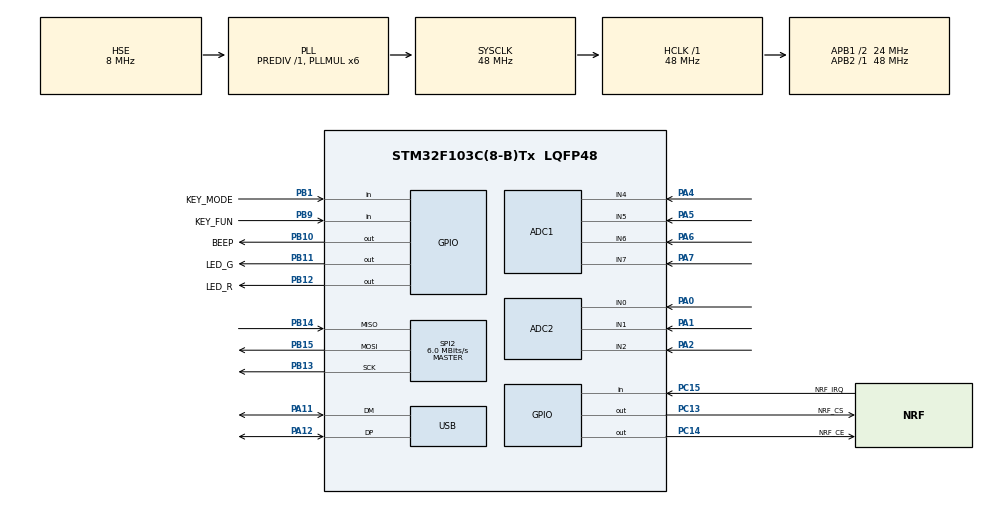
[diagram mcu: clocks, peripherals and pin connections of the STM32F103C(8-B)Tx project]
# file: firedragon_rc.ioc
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ADC1.Channel-0\#ChannelRegularConversion=ADC_CHANNEL_4
ADC1.Channel-1\#ChannelRegularConversion=ADC_CHANNEL_5
ADC1.Channel-2\#ChannelRegularConversion=ADC_CHANNEL_6
ADC1.Channel-3\#ChannelRegularConversion=ADC_CHANNEL_7
ADC1.ContinuousConvMode=ENABLE
ADC1.NbrOfConversion=4
ADC1.NbrOfConversionFlag=1
ADC1.Rank-0\#ChannelRegularConversion=1
ADC1.Rank-1\#ChannelRegularConversion=2
ADC1.Rank-2\#ChannelRegularConversion=3
ADC1.Rank-3\#ChannelRegularConversion=4
ADC1.SamplingTime-0\#ChannelRegularConversion=ADC_SAMPLETIME_1CYCLE_5
ADC1.SamplingTime-1\#ChannelRegularConversion=ADC_SAMPLETIME_1CYCLE_5
ADC1.SamplingTime-2\#ChannelRegularConversion=ADC_SAMPLETIME_1CYCLE_5
ADC1.SamplingTime-3\#ChannelRegularConversion=ADC_SAMPLETIME_1CYCLE_5
ADC1.master=1
ADC2.Channel-0\#ChannelRegularConversion=ADC_CHANNEL_0
ADC2.NbrOfConversionFlag=1
ADC2.Rank-0\#ChannelRegularConversion=1
ADC2.SamplingTime-0\#ChannelRegularConversion=ADC_SAMPLETIME_1CYCLE_5
Dma.ADC1.0.Direction=DMA_PERIPH_TO_MEMORY
Dma.ADC1.0.Instance=DMA1_Channel1
Dma.ADC1.0.MemDataAlignment=DMA_MDATAALIGN_WORD
Dma.ADC1.0.MemInc=DMA_MINC_ENABLE
Dma.ADC1.0.Mode=DMA_CIRCULAR
Dma.ADC1.0.PeriphDataAlignment=DMA_PDATAALIGN_WORD
Dma.ADC1.0.PeriphInc=DMA_PINC_DISABLE
Dma.ADC1.0.Priority=DMA_PRIORITY_HIGH
Dma.Request0=ADC1
Mcu.Family=STM32F1
Mcu.Name=STM32F103C(8-B)Tx
Mcu.Package=LQFP48
NVIC.ADC1_2_IRQn=true\:0\:0\:false\:false\:true\:true\:true
NVIC.DMA1_Channel1_IRQn=true\:0\:0\:false\:false\:true\:false\:true
NVIC.PriorityGroup=NVIC_PRIORITYGROUP_4
NVIC.USB_LP_CAN1_RX0_IRQn=true\:0\:0\:false\:false\:true\:false\:true
PA0-WKUP.Signal=ADCx_IN0
PA1.Signal=ADCx_IN1
PA11.Mode=Device
PA11.Signal=USB_DM
PA12.Mode=Device
PA12.Signal=USB_DP
PA13.Mode=Serial_Wire
PA13.Signal=SYS_JTMS-SWDIO
PA14.Mode=Serial_Wire
PA14.Signal=SYS_JTCK-SWCLK
PA2.Signal=ADCx_IN2
PA4.Signal=ADCx_IN4
PA5.Signal=ADCx_IN5
PA6.Signal=ADCx_IN6
PA7.Signal=ADCx_IN7
PB1.GPIO_Label=KEY_MODE
PB1.Signal=GPIO_Input
PB10.GPIO_Label=BEEP
PB10.Signal=GPIO_Output
PB11.GPIO_Label=LED_G
PB11.Signal=GPIO_Output
PB12.GPIO_Label=LED_R
PB12.Signal=GPIO_Output
PB13.Mode=Full_Duplex_Master
PB13.Signal=SPI2_SCK
PB14.Mode=Full_Duplex_Master
PB14.Signal=SPI2_MISO
PB15.Mode=Full_Duplex_Master
PB15.Signal=SPI2_MOSI
PB9.GPIO_Label=KEY_FUN
PB9.Signal=GPIO_Input
PC13-TAMPER-RTC.GPIO_Label=NRF_CS
PC13-TAMPER-RTC.Signal=GPIO_Output
PC14-OSC32_IN.GPIO_Label=NRF_CE
PC14-OSC32_IN.Signal=GPIO_Output
PC15-OSC32_OUT.GPIO_Label=NRF_IRQ
PC15-OSC32_OUT.Signal=GPIO_Input
PD0-OSC_IN.Mode=HSE-External-Oscillator
PD0-OSC_IN.Signal=RCC_OSC_IN
PD1-OSC_OUT.Mode=HSE-External-Oscillator
PD1-OSC_OUT.Signal=RCC_OSC_OUT
ProjectManager.HeapSize=0x200
ProjectManager.StackSize=0x400
ProjectManager.TargetToolchain=EWARM V8
RCC.ADCPresc=RCC_ADCPCLK2_DIV4
RCC.AHBFreq_Value=48000000
RCC.APB1CLKDivider=RCC_HCLK_DIV2
RCC.APB1Freq_Value=24000000
RCC.APB1TimFreq_Value=48000000
RCC.APB2Freq_Value=48000000
RCC.APB2TimFreq_Value=48000000
RCC.HCLKFreq_Value=48000000
RCC.PLLMUL=RCC_PLL_MUL6
RCC.SYSCLKFreq_VALUE=48000000
RCC.SYSCLKSource=RCC_SYSCLKSOURCE_PLLCLK
RCC.USBFreq_Value=48000000
SH.ADCx_IN0.0=ADC2_IN0,IN0
SH.ADCx_IN1.0=ADC2_IN1,IN1
SH.ADCx_IN2.0=ADC2_IN2,IN2
SH.ADCx_IN4.0=ADC1_IN4,IN4
SH.ADCx_IN5.0=ADC1_IN5,IN5
SH.ADCx_IN6.0=ADC1_IN6,IN6
SH.ADCx_IN7.0=ADC1_IN7,IN7
SPI2.BaudRatePrescaler=SPI_BAUDRATEPRESCALER_4
SPI2.CalculateBaudRate=6.0 MBits/s
SPI2.Direction=SPI_DIRECTION_2LINES
SPI2.Mode=SPI_MODE_MASTER
SPI2.VirtualType=VM_MASTER
USB_DEVICE.CLASS_NAME_FS=CDC
USB_DEVICE.VirtualMode=Cdc
USB_DEVICE.VirtualModeFS=Cdc_FS
VP_USB_DEVICE_VS_USB_DEVICE_CDC_FS.Mode=CDC_FS
board=custom

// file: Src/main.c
/* USER CODE BEGIN Header */
/**
  ******************************************************************************
  * @file           : main.c
  * @brief          : Main program body
  ******************************************************************************
  * @attention
  *
  * <h2><center>&copy; Copyright (c) 2019 STMicroelectronics.
  * All rights reserved.</center></h2>
  *
  * This software component is licensed by ST under Ultimate Liberty license
  * SLA0044, the "License"; You may not use this file except in compliance with
  * the License. You may obtain a copy of the License at:
  *                             www.st.com/SLA0044
  *
  ******************************************************************************
  */
/* USER CODE END Header */

#include "main.h"
#include "usb_device.h"

/* USER CODE BEGIN Includes */
#include "MY_NRF24.h"
#include "nrf_mavlink.h"
/* USER CODE END Includes */

ADC_HandleTypeDef hadc1;
ADC_HandleTypeDef hadc2;
DMA_HandleTypeDef hdma_adc1;

SPI_HandleTypeDef hspi2;

void SystemClock_Config(void);
static void MX_GPIO_Init(void);
static void MX_DMA_Init(void);
static void MX_ADC1_Init(void);
static void MX_ADC2_Init(void);
static void MX_SPI2_Init(void);
/* USER CODE BEGIN PFP */
void setup(void);
void loop(void);
/* USER CODE END PFP */

/* USER CODE BEGIN 0 */
uint64_t RxpipeAddrs = 0x11223344AA;
/* USER CODE END 0 */

int main(void)
{

  /* MCU Configuration--------------------------------------------------------*/

  /* Reset of all peripherals, Initializes the Flash interface and the Systick. */
  HAL_Init();

  /* Configure the system clock */
  SystemClock_Config();

  /* Initialize all configured peripherals */
  MX_GPIO_Init();
  MX_DMA_Init();
  MX_ADC1_Init();
  MX_ADC2_Init();
  MX_SPI2_Init();
  MX_USB_DEVICE_Init();
  /* USER CODE BEGIN 2 */
  NRF24_begin(NRF_CE_GPIO_Port, NRF_CS_Pin, NRF_CE_Pin, hspi2);
  printRadioSettings();

  NRF24_setAutoAck(true);
  NRF24_setChannel(52);
  NRF24_setPayloadSize(32);
  NRF24_openReadingPipe(1, RxpipeAddrs);

  NRF24_enableDynamicPayloads();
  NRF24_enableAckPayload();

  NRF24_startListening();

  setup();
  /* USER CODE END 2 */

  /* Infinite loop */
  /* USER CODE BEGIN WHILE */
  while (1)
  {
    update_mavlink();
    loop();
    /* USER CODE END WHILE */

  }
}

void SystemClock_Config(void)
{
  RCC_OscInitTypeDef RCC_OscInitStruct = {0};
  RCC_ClkInitTypeDef RCC_ClkInitStruct = {0};
  RCC_PeriphCLKInitTypeDef PeriphClkInit = {0};

  /** Initializes the CPU, AHB and APB busses clocks
  */
  RCC_OscInitStruct.OscillatorType = RCC_OSCILLATORTYPE_HSE;
  RCC_OscInitStruct.HSEState = RCC_HSE_ON;
  RCC_OscInitStruct.HSEPredivValue = RCC_HSE_PREDIV_DIV1;
  RCC_OscInitStruct.HSIState = RCC_HSI_ON;
  RCC_OscInitStruct.PLL.PLLState = RCC_PLL_ON;
  RCC_OscInitStruct.PLL.PLLSource = RCC_PLLSOURCE_HSE;
  RCC_OscInitStruct.PLL.PLLMUL = RCC_PLL_MUL6;
  if (HAL_RCC_OscConfig(&RCC_OscInitStruct) != HAL_OK)
  {
    Error_Handler();
  }
  /** Initializes the CPU, AHB and APB busses clocks
  */
  RCC_ClkInitStruct.ClockType = RCC_CLOCKTYPE_HCLK|RCC_CLOCKTYPE_SYSCLK
                              |RCC_CLOCKTYPE_PCLK1|RCC_CLOCKTYPE_PCLK2;
  RCC_ClkInitStruct.SYSCLKSource = RCC_SYSCLKSOURCE_PLLCLK;
  RCC_ClkInitStruct.AHBCLKDivider = RCC_SYSCLK_DIV1;
  RCC_ClkInitStruct.APB1CLKDivider = RCC_HCLK_DIV2;
  RCC_ClkInitStruct.APB2CLKDivider = RCC_HCLK_DIV1;

  if (HAL_RCC_ClockConfig(&RCC_ClkInitStruct, FLASH_LATENCY_1) != HAL_OK)
  {
    Error_Handler();
  }
  PeriphClkInit.PeriphClockSelection = RCC_PERIPHCLK_ADC|RCC_PERIPHCLK_USB;
  PeriphClkInit.AdcClockSelection = RCC_ADCPCLK2_DIV4;
  PeriphClkInit.UsbClockSelection = RCC_USBCLKSOURCE_PLL;
  if (HAL_RCCEx_PeriphCLKConfig(&PeriphClkInit) != HAL_OK)
  {
    Error_Handler();
  }
}

static void MX_ADC1_Init(void)
{

  ADC_ChannelConfTypeDef sConfig = {0};

  /** Common config
  */
  hadc1.Instance = ADC1;
  hadc1.Init.ScanConvMode = ADC_SCAN_ENABLE;
  hadc1.Init.ContinuousConvMode = ENABLE;
  hadc1.Init.DiscontinuousConvMode = DISABLE;
  hadc1.Init.ExternalTrigConv = ADC_SOFTWARE_START;
  hadc1.Init.DataAlign = ADC_DATAALIGN_RIGHT;
  hadc1.Init.NbrOfConversion = 4;
  if (HAL_ADC_Init(&hadc1) != HAL_OK)
  {
    Error_Handler();
  }
  /** Configure Regular Channel
  */
  sConfig.Channel = ADC_CHANNEL_4;
  sConfig.Rank = ADC_REGULAR_RANK_1;
  sConfig.SamplingTime = ADC_SAMPLETIME_1CYCLE_5;
  if (HAL_ADC_ConfigChannel(&hadc1, &sConfig) != HAL_OK)
  {
    Error_Handler();
  }
  /** Configure Regular Channel
  */
  sConfig.Channel = ADC_CHANNEL_5;
  sConfig.Rank = ADC_REGULAR_RANK_2;
  if (HAL_ADC_ConfigChannel(&hadc1, &sConfig) != HAL_OK)
  {
    Error_Handler();
  }
  /** Configure Regular Channel
  */
  sConfig.Channel = ADC_CHANNEL_6;
  sConfig.Rank = ADC_REGULAR_RANK_3;
  if (HAL_ADC_ConfigChannel(&hadc1, &sConfig) != HAL_OK)
  {
    Error_Handler();
  }
  /** Configure Regular Channel
  */
  sConfig.Channel = ADC_CHANNEL_7;
  sConfig.Rank = ADC_REGULAR_RANK_4;
  if (HAL_ADC_ConfigChannel(&hadc1, &sConfig) != HAL_OK)
  {
    Error_Handler();
  }

}

static void MX_ADC2_Init(void)
{

  ADC_ChannelConfTypeDef sConfig = {0};

  /** Common config
  */
  hadc2.Instance = ADC2;
  hadc2.Init.ScanConvMode = ADC_SCAN_DISABLE;
  hadc2.Init.ContinuousConvMode = DISABLE;
  hadc2.Init.DiscontinuousConvMode = DISABLE;
  hadc2.Init.ExternalTrigConv = ADC_SOFTWARE_START;
  hadc2.Init.DataAlign = ADC_DATAALIGN_RIGHT;
  hadc2.Init.NbrOfConversion = 1;
  if (HAL_ADC_Init(&hadc2) != HAL_OK)
  {
    Error_Handler();
  }
  /** Configure Regular Channel
  */
  sConfig.Channel = ADC_CHANNEL_0;
  sConfig.Rank = ADC_REGULAR_RANK_1;
  sConfig.SamplingTime = ADC_SAMPLETIME_1CYCLE_5;
  if (HAL_ADC_ConfigChannel(&hadc2, &sConfig) != HAL_OK)
  {
    Error_Handler();
  }

}

static void MX_SPI2_Init(void)
{

  /* SPI2 parameter configuration*/
  hspi2.Instance = SPI2;
  hspi2.Init.Mode = SPI_MODE_MASTER;
  hspi2.Init.Direction = SPI_DIRECTION_2LINES;
  hspi2.Init.DataSize = SPI_DATASIZE_8BIT;
  hspi2.Init.CLKPolarity = SPI_POLARITY_LOW;
  hspi2.Init.CLKPhase = SPI_PHASE_1EDGE;
  hspi2.Init.NSS = SPI_NSS_SOFT;
  hspi2.Init.BaudRatePrescaler = SPI_BAUDRATEPRESCALER_4;
  hspi2.Init.FirstBit = SPI_FIRSTBIT_MSB;
  hspi2.Init.TIMode = SPI_TIMODE_DISABLE;
  hspi2.Init.CRCCalculation = SPI_CRCCALCULATION_DISABLE;
  hspi2.Init.CRCPolynomial = 10;
  if (HAL_SPI_Init(&hspi2) != HAL_OK)
  {
    Error_Handler();
  }

}

static void MX_DMA_Init(void)
{
  /* DMA controller clock enable */
  __HAL_RCC_DMA1_CLK_ENABLE();

  /* DMA interrupt init */
  /* DMA1_Channel1_IRQn interrupt configuration */
  HAL_NVIC_SetPriority(DMA1_Channel1_IRQn, 0, 0);
  HAL_NVIC_EnableIRQ(DMA1_Channel1_IRQn);

}

static void MX_GPIO_Init(void)
{
  GPIO_InitTypeDef GPIO_InitStruct = {0};

  /* GPIO Ports Clock Enable */
  __HAL_RCC_GPIOC_CLK_ENABLE();
  __HAL_RCC_GPIOD_CLK_ENABLE();
  __HAL_RCC_GPIOA_CLK_ENABLE();
  __HAL_RCC_GPIOB_CLK_ENABLE();

  /*Configure GPIO pin Output Level */
  HAL_GPIO_WritePin(GPIOC, NRF_CS_Pin|NRF_CE_Pin, GPIO_PIN_RESET);

  /*Configure GPIO pin Output Level */
  HAL_GPIO_WritePin(GPIOB, BEEP_Pin|LED_G_Pin|LED_R_Pin, GPIO_PIN_RESET);

  /*Configure GPIO pins : NRF_CS_Pin NRF_CE_Pin */
  GPIO_InitStruct.Pin = NRF_CS_Pin|NRF_CE_Pin;
  GPIO_InitStruct.Mode = GPIO_MODE_OUTPUT_PP;
  GPIO_InitStruct.Pull = GPIO_NOPULL;
  GPIO_InitStruct.Speed = GPIO_SPEED_FREQ_LOW;
  HAL_GPIO_Init(GPIOC, &GPIO_InitStruct);

  /*Configure GPIO pin : NRF_IRQ_Pin */
  GPIO_InitStruct.Pin = NRF_IRQ_Pin;
  GPIO_InitStruct.Mode = GPIO_MODE_INPUT;
  GPIO_InitStruct.Pull = GPIO_NOPULL;
  HAL_GPIO_Init(NRF_IRQ_GPIO_Port, &GPIO_InitStruct);

  /*Configure GPIO pins : KEY_MODE_Pin KEY_FUN_Pin */
  GPIO_InitStruct.Pin = KEY_MODE_Pin|KEY_FUN_Pin;
  GPIO_InitStruct.Mode = GPIO_MODE_INPUT;
  GPIO_InitStruct.Pull = GPIO_NOPULL;
  HAL_GPIO_Init(GPIOB, &GPIO_InitStruct);

  /*Configure GPIO pins : BEEP_Pin LED_G_Pin LED_R_Pin */
  GPIO_InitStruct.Pin = BEEP_Pin|LED_G_Pin|LED_R_Pin;
  GPIO_InitStruct.Mode = GPIO_MODE_OUTPUT_PP;
  GPIO_InitStruct.Pull = GPIO_NOPULL;
  GPIO_InitStruct.Speed = GPIO_SPEED_FREQ_LOW;
  HAL_GPIO_Init(GPIOB, &GPIO_InitStruct);

}

void Error_Handler(void)
{
}

/************************ (C) COPYRIGHT STMicroelectronics *****END OF FILE****/
